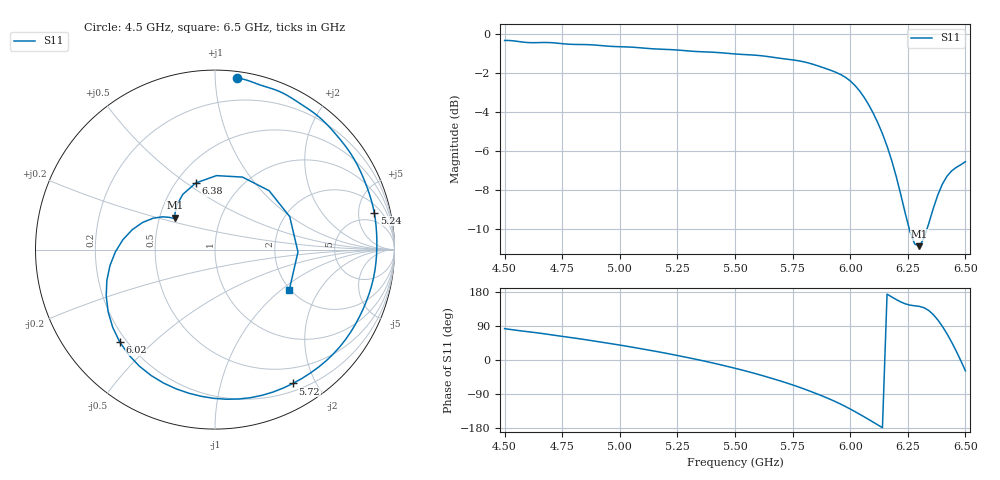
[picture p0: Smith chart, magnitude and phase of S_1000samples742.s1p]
! TOUCHSTONE file generated by CST MICROWAVE STUDIO
! Date and time: Sat Oct 29 05:44:46 2022
! Project name: L.cst
! Parameters = {Di=1.27; Epsilon_r=1.56; InnerDiameter=1.27; Length=2; Lf=10; Lg=60; OuterConductorThickness=0.2921; OuterDiameter=3.6; Wf=3; Wp=41.2; de=1.5; df=6.8; g=0.8; gx=3.95866; gy=2.0064; h=2.34; hf=1.524; px=8.38817; py=12.9348; w=9.7; wx=4.42951; wy=10.9284}
! Header version: 2018
! Port assignment regex: !\s*Touchstone port\s*([0-9]+)\s*=\s*(CST MWS port|CST DS port)\s*([0-9]+|Zmin|Zmax)\s*\(\"(.*)\"\)(\s*mode\s*([0-9]+))?.*
! Touchstone port assignment:
! Touchstone port 1 = CST MWS port 1 ("")
# GHz S DB R 50
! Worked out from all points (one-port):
!   101 points, 4.5 GHz to 6.5 GHz, reference 50 ohm
!   lowest |S11| = -10.9 dB at 6.3 GHz (marker M1), VSWR 1.80, Z = 30 + j11.6 ohm
!   |S11| at or under -10 dB: 6.257 GHz to 6.333 GHz (76.37 MHz wide, 1.21 % of centre)
!   S11 on the Smith chart (normalised r, x): 4.5 GHz: 0.04, +1.13; 5.24 GHz: 3.08, +7.47; 5.72 GHz: 0.29, -1.70; 6.02 GHz: 0.17, -0.39; 6.38 GHz: 0.62, +0.55; 6.5 GHz: 1.98, -1.14
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4.5  -0.33 82.7
4.76  -0.50 61.5
5  -0.65 39.4
5.24  -0.81 13.1
5.26  -0.83 10.6
5.4  -0.93 -7.3
5.5  -1.02 -21.8
5.6  -1.10 -37.9
5.72  -1.28 -59.8
5.76  -1.34 -67.8
5.82  -1.49 -81.0
5.88  -1.71 -95.3
5.94  -1.97 -111.0
6  -2.40 -129.3
6.02  -2.63 -135.9
6.08  -3.62 -156.8
6.12  -4.55 -171.3
6.2  -7.31 159.5
6.26  -10.15 144.7
6.3  -10.88 141.5
6.34  -9.75 131.1
6.38  -8.26 106.0
6.4  -7.70 88.9
6.42  -7.29 69.3
6.44  -7.02 47.5
6.46  -6.84 23.8
6.48  -6.70 -1.6
6.5  -6.54 -28.5
